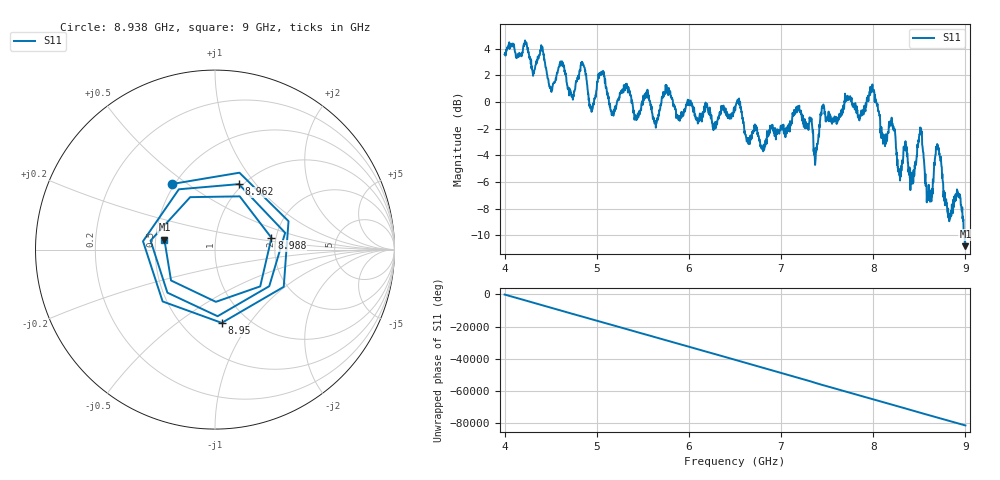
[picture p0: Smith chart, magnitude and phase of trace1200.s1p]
! Created with skrf 1.8.0 (http://scikit-rf.org).
# Hz S RI R 50.0
!freq ReS11 ImS11
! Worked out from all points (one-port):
!   1601 points, 4 GHz to 9 GHz, reference 50 ohm
!   lowest |S11| = -10.8 dB at 9 GHz (marker M1), VSWR 1.81, Z = 27.9 + j3.37 ohm
!   |S11| at or under -10 dB: 8.991729 GHz to end of sweep
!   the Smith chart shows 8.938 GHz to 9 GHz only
!   S11 on the Smith chart (normalised r, x): 8.938 GHz: 0.48, +0.44; 8.95 GHz: 0.76, -0.75; 8.962 GHz: 0.96, +0.82; 8.988 GHz: 1.89, +0.28; 9 GHz: 0.56, +0.07
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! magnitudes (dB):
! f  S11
! 4 GHz  3.6
! 4.625 GHz  2.8
! 4.725 GHz  0.4
! 4.85 GHz  2.9
! 4.944 GHz  -0.7
! 5.05 GHz  2.2
! 5.162 GHz  -1.0
! 5.25 GHz  0.7
! 5.875 GHz  -1.0
! 6.5 GHz  -0.6
! 6.8 GHz  -3.6
! 7.125 GHz  -0.8
! 7.378 GHz  -3.7
! 7.45 GHz  -0.3
! 7.75 GHz  0.4
! 7.988 GHz  1.1
! 8.284 GHz  -5.5
! 8.375 GHz  -4.6
! 8.422 GHz  -5.4
! 8.509 GHz  -1.9
! 8.606 GHz  -7.4
! 8.7 GHz  -3.2
! 8.812 GHz  -8.0
! 8.938 GHz  -7.2
! 8.95 GHz  -7.7
! 8.962 GHz  -8.2
! 8.988 GHz  -9.9
! 9 GHz  -10.8
